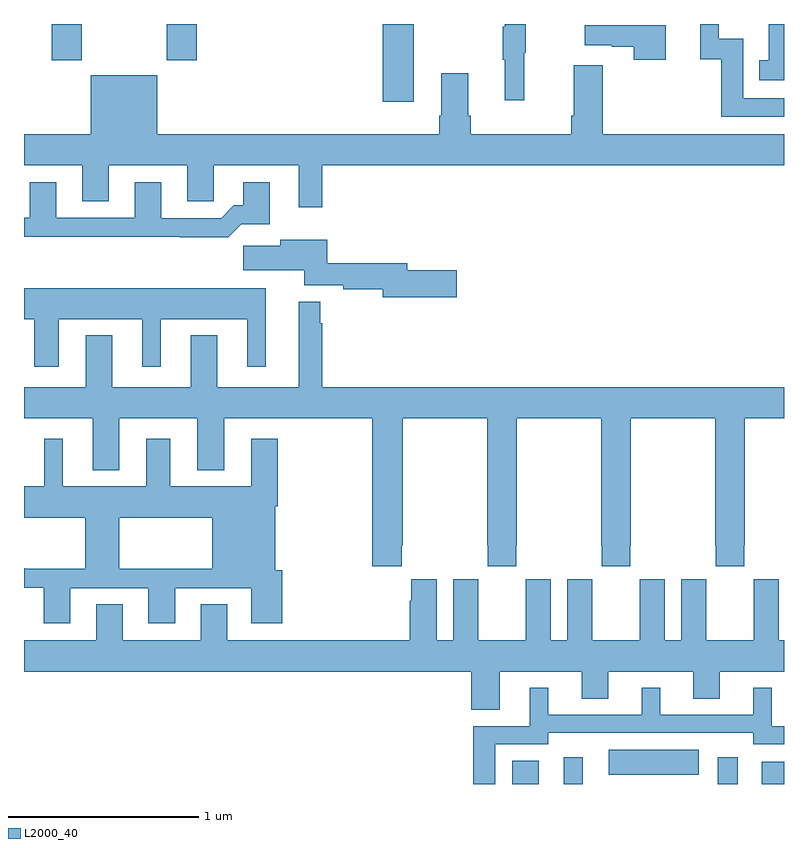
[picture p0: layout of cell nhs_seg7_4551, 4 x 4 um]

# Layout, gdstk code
import gdstk
lib = gdstk.Library(unit=1e-6, precision=1e-09)
def R(c, l, rs):  # rectangles x0, y0, x1, y1
    for r in rs: c.add(gdstk.rectangle(r[:2], r[2:], *l))
def P(c, l, *ps):  # polygons
    for p in ps: c.add(gdstk.Polygon(p, *l))
L2000_40 = (2000, 40)

nhs_seg7_4551 = lib.new_cell('nhs_seg7_4551')
R(nhs_seg7_4551, L2000_40, [(399.569,1024,399.709,1024.123), (399.842,1024,399.94,1024.141), (400.652,1024,400.756,1024.141), (400.883,1024,401,1024.117), (400.077,1024.049,400.552,1024.18), (398.888,1027.59,399.052,1028), (397.145,1027.809,397.305,1028), (397.75,1027.809,397.91,1028)])
P(nhs_seg7_4551, L2000_40, [(401,1028),(400.919,1028),(400.919,1027.809),(400.87,1027.809),(400.87,1027.704),(401,1027.704)],
  [(399.632,1027.848),(399.64,1027.848),(399.64,1028),(399.53,1028),(399.53,1027.985),(399.519,1027.985),(399.519,1027.811),(399.53,1027.811),(399.53,1027.599),(399.632,1027.599)],
  [(401,1027.608),(400.785,1027.608),(400.785,1027.923),(400.656,1027.923),(400.656,1028),(400.559,1028),(400.559,1027.815),(400.669,1027.815),(400.669,1027.512),(401,1027.512)],
  [(400.378,1027.993),(399.951,1027.993),(399.951,1027.889),(400.094,1027.889),(400.094,1027.879),(400.208,1027.879),(400.208,1027.812),(400.378,1027.812)],
  [(398.569,1027.256),(401,1027.256),(401,1027.42),(400.046,1027.42),(400.046,1027.783),(399.893,1027.783),(399.893,1027.516),(399.881,1027.516),(399.881,1027.42),(399.35,1027.42),(399.35,1027.516),(399.337,1027.516),(399.337,1027.741),(399.197,1027.741),(399.197,1027.516),(399.185,1027.516),(399.185,1027.42),(397.702,1027.42),(397.702,1027.729),(397.352,1027.729),(397.352,1027.42),(397,1027.42),(397,1027.256),(397.307,1027.256),(397.307,1027.066),(397.447,1027.066),(397.447,1027.256),(397.859,1027.256),(397.859,1027.066),(397.998,1027.066),(397.998,1027.256),(398.447,1027.256),(398.447,1027.035),(398.569,1027.035)],
  [(398.144,1026.947),(398.293,1026.947),(398.293,1027.168),(398.153,1027.168),(398.153,1027.045),(398.104,1027.045),(398.037,1026.978),(397.723,1026.978),(397.723,1027.168),(397.583,1027.168),(397.583,1026.981),(397.171,1026.981),(397.171,1027.168),(397.031,1027.168),(397.031,1026.981),(397,1026.981),(397,1026.88),(397.819,1026.88),(397.819,1026.878),(398.075,1026.878)],
  [(399.277,1026.704),(399.016,1026.704),(399.016,1026.74),(398.597,1026.74),(398.597,1026.865),(398.348,1026.865),(398.348,1026.833),(398.154,1026.833),(398.154,1026.704),(398.474,1026.704),(398.474,1026.624),(398.68,1026.624),(398.68,1026.604),(398.888,1026.604),(398.888,1026.562),(399.277,1026.562)],
  [(397.183,1026.446),(397.622,1026.446),(397.622,1026.195),(397.72,1026.195),(397.72,1026.446),(398.174,1026.446),(398.174,1026.195),(398.272,1026.195),(398.272,1026.61),(397,1026.61),(397,1026.446),(397.055,1026.446),(397.055,1026.195),(397.183,1026.195)],
  [(398.987,1025.257),(398.994,1025.257),(398.994,1025.924),(399.439,1025.924),(399.439,1025.257),(399.441,1025.257),(399.441,1025.145),(399.591,1025.145),(399.591,1025.257),(399.594,1025.257),(399.594,1025.924),(400.039,1025.924),(400.039,1025.257),(400.041,1025.257),(400.041,1025.145),(400.191,1025.145),(400.191,1025.257),(400.194,1025.257),(400.194,1025.924),(400.639,1025.924),(400.639,1025.257),(400.641,1025.257),(400.641,1025.145),(400.791,1025.145),(400.791,1025.257),(400.794,1025.257),(400.794,1025.924),(401,1025.924),(401,1026.088),(398.569,1026.088),(398.569,1026.425),(398.558,1026.425),(398.558,1026.538),(398.447,1026.538),(398.447,1026.088),(398.017,1026.088),(398.017,1026.361),(397.877,1026.361),(397.877,1026.088),(397.465,1026.088),(397.465,1026.361),(397.325,1026.361),(397.325,1026.088),(397,1026.088),(397,1025.924),(397.361,1025.924),(397.361,1025.651),(397.501,1025.651),(397.501,1025.924),(397.913,1025.924),(397.913,1025.651),(398.053,1025.651),(398.053,1025.924),(398.834,1025.924),(398.834,1025.145),(398.987,1025.145)],
  [(397.007,1025.135),(397,1025.135),(397,1025.034),(397.103,1025.034),(397.103,1024.845),(397.243,1024.845),(397.243,1025.031),(397.655,1025.031),(397.655,1024.845),(397.795,1024.845),(397.795,1025.031),(398.195,1025.031),(398.195,1024.845),(398.36,1024.845),(398.36,1025.124),(398.323,1025.124),(398.323,1025.462),(398.336,1025.462),(398.336,1025.818),(398.195,1025.818),(398.195,1025.566),(397.771,1025.566),(397.771,1025.818),(397.643,1025.818),(397.643,1025.566),(397.204,1025.566),(397.204,1025.818),(397.106,1025.818),(397.106,1025.566),(397,1025.566),(397,1025.402),(397.322,1025.402),(397.322,1025.132),(397.5,1025.132),(397.5,1025.402),(397.991,1025.402),(397.991,1025.132),(397.5,1025.132),(397.322,1025.132),(397.007,1025.132)],
  [(399.86,1024.756),(399.772,1024.756),(399.772,1025.077),(399.642,1025.077),(399.642,1024.964),(399.641,1024.964),(399.641,1024.756),(399.391,1024.756),(399.391,1024.964),(399.39,1024.964),(399.39,1025.077),(399.26,1025.077),(399.26,1024.756),(399.172,1024.756),(399.172,1025.077),(399.038,1025.077),(399.038,1024.964),(399.029,1024.964),(399.029,1024.756),(398.071,1024.756),(398.071,1024.946),(397.931,1024.946),(397.931,1024.756),(397.519,1024.756),(397.519,1024.946),(397.379,1024.946),(397.379,1024.756),(397,1024.756),(397,1024.592),(399.353,1024.592),(399.353,1024.39),(399.505,1024.39),(399.505,1024.592),(399.935,1024.592),(399.935,1024.45),(400.075,1024.45),(400.075,1024.592),(400.523,1024.592),(400.523,1024.45),(400.663,1024.45),(400.663,1024.592),(401,1024.592),(401,1024.756),(400.972,1024.756),(400.972,1025.077),(400.842,1025.077),(400.842,1024.964),(400.841,1024.964),(400.841,1024.756),(400.591,1024.756),(400.591,1024.964),(400.59,1024.964),(400.59,1025.077),(400.46,1025.077),(400.46,1024.756),(400.372,1024.756),(400.372,1025.077),(400.242,1025.077),(400.242,1024.964),(400.241,1024.964),(400.241,1024.756),(399.991,1024.756),(399.991,1024.964),(399.99,1024.964),(399.99,1025.077),(399.86,1025.077)],
  [(399.48,1024.209),(399.759,1024.209),(399.759,1024.269),(400.839,1024.269),(400.839,1024.209),(401,1024.209),(401,1024.305),(400.936,1024.305),(400.936,1024.507),(400.838,1024.507),(400.838,1024.365),(400.348,1024.365),(400.348,1024.507),(400.25,1024.507),(400.25,1024.365),(399.76,1024.365),(399.76,1024.507),(399.662,1024.507),(399.662,1024.305),(399.364,1024.305),(399.364,1024),(399.48,1024)])

lib.write_gds('nhs_seg7_4551.gds')
